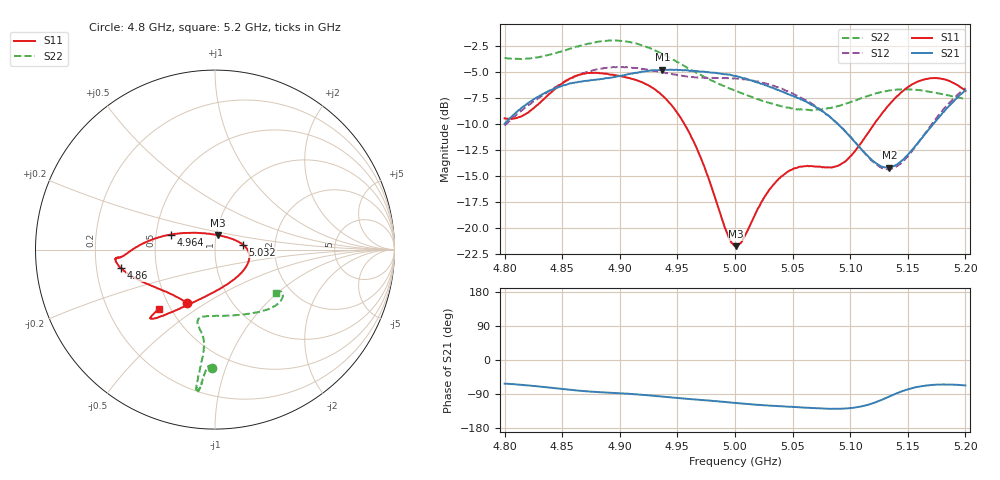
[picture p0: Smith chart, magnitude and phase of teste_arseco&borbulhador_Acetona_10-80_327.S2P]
! Network Analyzer HP8722D
! Hewlett-Packard
! Data name: Linha & Wilkinson
! Saver's name: Rodrigo Anjos
! Comments: Teste da utilização de aquisição
! continua pelo VNA HP8722D
! Time and date: 17/4/2025 17:05
!  Frequency  S11  S21  S12  S22
# HZ  S  MA R 50
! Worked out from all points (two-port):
!   401 points, 4.8 GHz to 5.2 GHz, reference 50 ohm
!   highest |S21| = -4.77 dB at 4.937 GHz (marker M1); lowest = -14.2 dB at 5.134 GHz (marker M2)
!   |S21| within 3 dB of the highest: 4.823 GHz to 5.06 GHz (236.5 MHz wide, 4.79 % of centre); 5.190294 GHz to end of sweep
!   lowest |S11| = -21.8 dB at 5.001 GHz (marker M3), VSWR 1.18, Z = 50.9 + j8.22 ohm
!   |S11| at or under -10 dB: 4.956 GHz to 5.121 GHz (164.9 MHz wide, 3.27 % of centre)
!   |S22| runs from -8.7 to -2.0 dB; largest |S21 - S12| = 0.87
!   S11 on the Smith chart (normalised r, x): 4.8 GHz: 0.62, -0.42; 4.86 GHz: 0.31, -0.09; 4.964 GHz: 0.60, +0.11; 5.032 GHz: 1.37, +0.08; 5.2 GHz: 0.43, -0.36
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4.8e9  0.3366 -117.3  0.3165 -62.5  0.3109 -176.7  0.6576 -91.5
4.819e9  0.3555 -137.5  0.3933 -66.8  0.3826 -176.3  0.6532 -93.2
4.86e9  0.5344 -168.8  0.4984 -79.6  0.5309 -179.8  0.7362 -95.5
4.867e9  0.549 -171.4  0.5068 -81.7  0.5514 179.1  0.7575 -95.8
4.899e9  0.539 -175.4  0.5367 -87.6  0.5931 172.8  0.795 -97.3
4.934e9  0.4492 179.1  0.5738 -95.8  0.5654 169.8  0.7002 -97.5
4.937e9  0.4335 177.9  0.5777 -96.7  0.5597 169.9  0.6887 -97.3
4.951e9  0.35 170.7  0.5756 -100.6  0.543 170.4  0.624 -96.8
4.964e9  0.2613 161.4  0.5702 -103.8  0.5313 171.8  0.5681 -96.4
4.993e9  0.09452 111.0  0.5481 -111.3  0.5253 174.0  0.4745 -98.8
5e9  0.0821 83.4  0.5374 -113.3  0.5242 174.1  0.458 -100.1
5.001e9  0.08167 79.3  0.5381 -113.3  0.5229 174.1  0.4563 -100.4
5.007e9  0.08817 55.9  0.5254 -115.0  0.5179 174.0  0.4423 -101.6
5.032e9  0.1581 10.0  0.4733 -120.6  0.4849 172.8  0.3967 -103.4
5.048e9  0.1897 -5.0  0.4355 -123.4  0.4482 172.1  0.3779 -99.0
5.067e9  0.1982 -25.3  0.3897 -126.5  0.3948 171.8  0.3681 -88.3
5.096e9  0.2096 -75.8  0.2897 -127.9  0.2912 174.9  0.3957 -65.7
5.12e9  0.311 -111.1  0.2097 -113.8  0.2075 -169.0  0.4392 -50.0
5.134e9  0.3923 -121.9  0.1952 -96.2  0.1914 -149.4  0.4584 -43.3
5.146e9  0.4571 -127.4  0.2133 -81.5  0.2092 -132.1  0.4647 -38.8
5.168e9  0.5231 -132.5  0.2971 -66.9  0.3006 -113.2  0.4522 -33.5
5.2e9  0.4557 -133.5  0.4592 -67.1  0.4705 -109.2  0.4175 -35.1
